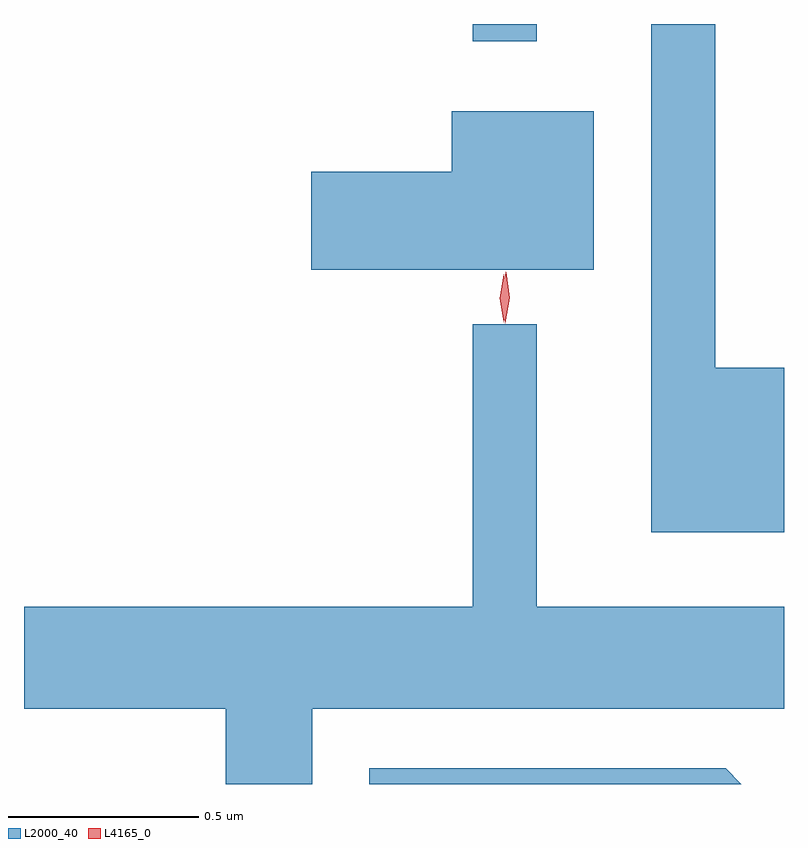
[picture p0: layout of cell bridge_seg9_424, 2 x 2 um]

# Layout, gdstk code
import gdstk
lib = gdstk.Library(unit=1e-6, precision=1e-09)
def R(c, l, rs):  # rectangles x0, y0, x1, y1
    for r in rs: c.add(gdstk.rectangle(r[:2], r[2:], *l))
def P(c, l, *ps):  # polygons
    for p in ps: c.add(gdstk.Polygon(p, *l))
L2000_40 = (2000, 40)
L4165_0 = (4165, 0)

bridge_seg9_424 = lib.new_cell('bridge_seg9_424')
R(bridge_seg9_424, L2000_40, [(624.571,2044.633,624.739,2044.678)])
P(bridge_seg9_424, L2000_40, [(625.39,2043.774),(625.209,2043.774),(625.209,2044.678),(625.041,2044.678),(625.041,2043.341),(625.39,2043.341)],
  [(624.889,2044.449),(624.516,2044.449),(624.516,2044.289),(624.146,2044.289),(624.146,2044.031),(624.889,2044.031)],
  [(624.149,2042.876),(625.39,2042.876),(625.39,2043.144),(624.739,2043.144),(624.739,2043.888),(624.571,2043.888),(624.571,2043.144),(623.39,2043.144),(623.39,2042.876),(623.921,2042.876),(623.921,2042.678),(624.149,2042.678)],
  [(625.237,2042.719),(624.298,2042.719),(624.298,2042.678),(625.278,2042.678)])
P(bridge_seg9_424, L4165_0, [(624.652,2043.893),(624.652,2043.894),(624.642,2043.956),(624.652,2044.019),(624.652,2044.02),(624.652,2044.019),(624.662,2043.956),(624.652,2043.894)],
  [(624.656,2043.89),(624.648,2043.958),(624.658,2044.025),(624.658,2044.026),(624.659,2044.025),(624.668,2043.958),(624.657,2043.89),(624.657,2043.89)])

lib.write_gds('bridge_seg9_424.gds')
